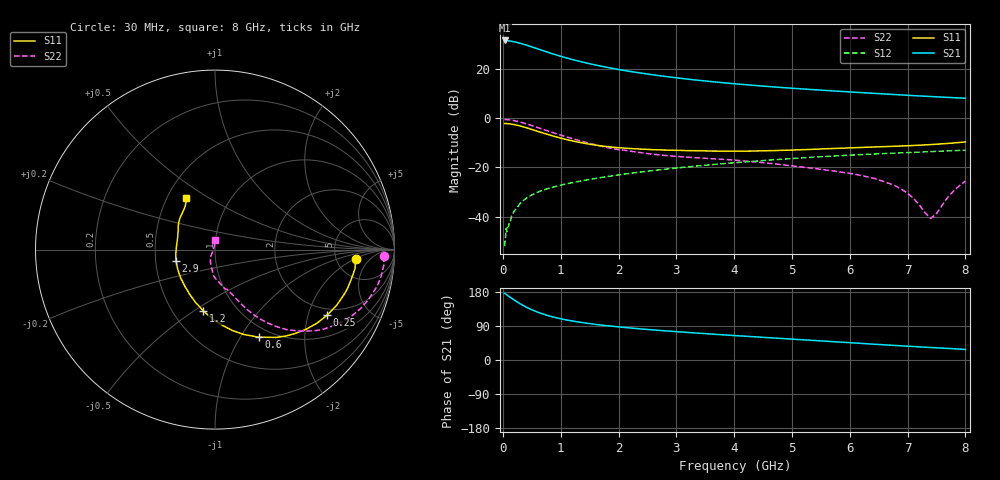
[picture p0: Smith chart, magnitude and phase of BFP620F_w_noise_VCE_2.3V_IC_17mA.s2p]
! Infineon Technologies  Discrete & RF Semiconductors
! BFP620F
! VCE =  2.3 V,  IC =  17 mA
! Common Emitter S-Parameters:  Dec 2014
# GHz  S  MA  R  50
!  f  S11  S21  S12  S22
! GHz  MAG  ANG  MAG  ANG  MAG  ANG  MAG  ANG
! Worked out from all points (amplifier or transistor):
!   95 points, 30 MHz to 8 GHz, reference 50 ohm
!   highest |S21| = 31.7 dB at 30 MHz (marker M1)
!   |S21| within 3 dB of that: start of sweep to 546.4 MHz
!   unconditionally stable (mu >= 1): 3.039 GHz to end of sweep
!   at 300 MHz: K = 0.33, MSG = 32.6 dB, |S12| = -34.6 dB
!   at 3.3 GHz: K = 1.01, MAG = 17.0 dB, |S12| = -19.5 dB
!   at 8 GHz: K = 1.07, MAG = 8.9 dB, |S12| = -13.0 dB
!   lowest NFmin = 0.76 dB at 450 MHz
!   S11 on the Smith chart (normalised r, x): 30 MHz: 7.83, -2.09; 250 MHz: 1.73, -2.66; 600 MHz: 0.87, -1.20; 1.2 GHz: 0.70, -0.55; 2.9 GHz: 0.64, -0.08; 8 GHz: 0.62, +0.40
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0.03  0.7873 -3.7  38.63 176.0  0.0025 44.6  0.9422 -2.3
0.08  0.7818 -10.1  38.23 170.5  0.0058 72.5  0.9404 -7.3
0.13  0.7692 -16.3  37.49 165.1  0.0082 68.4  0.9279 -12.0
0.25  0.7235 -30.4  35.01 152.9  0.0154 70.9  0.8724 -22.4
0.3  0.7007 -35.8  33.79 148.3  0.0187 69.4  0.8431 -26.4
0.4  0.6475 -46.1  31.19 139.9  0.0234 67.2  0.7782 -33.3
0.5  0.596 -55.2  28.53 132.6  0.0276 64.4  0.7146 -39.3
0.6  0.5451 -63.5  26.04 126.3  0.0314 63.2  0.6513 -44.2
0.7  0.5014 -70.9  23.79 120.9  0.0347 62.1  0.5949 -48.4
0.9  0.4265 -83.9  19.96 112.3  0.0408 60.4  0.4973 -54.7
1.1  0.3701 -95.3  17.01 105.6  0.0465 59.6  0.4199 -59.4
1.2  0.3487 -100.6  15.82 102.9  0.0491 59.6  0.3885 -61.2
1.4  0.3135 -110.4  13.81 98.2  0.0546 58.8  0.3334 -64.4
1.7  0.2749 -123.9  11.55 92.2  0.0626 58.7  0.2716 -68.6
2  0.2527 -136.1  9.917 87.4  0.0706 58.1  0.2308 -73.2
2.7  0.2289 -158.8  7.428 78.2  0.0894 55.9  0.181 -83.3
2.9  0.2253 -164.1  6.927 76.0  0.0947 55.3  0.1721 -85.6
4.1  0.2154 169.8  4.961 63.6  0.1275 50.2  0.1383 -94.3
5.4  0.2357 150.6  3.826 51.3  0.1628 43.1  0.0954 -102.8
6.7  0.2686 134.5  3.094 39.1  0.1946 34.9  0.0464 -120.6
7.4  0.2928 124.7  2.786 32.9  0.2105 30.8  0.0092 166.9
8  0.3313 119.2  2.572 27.9  0.225 26.9  0.0526 87.9
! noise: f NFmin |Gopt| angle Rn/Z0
0.45  0.76  0.1  6  0.21
0.9  0.82  0.1  17  0.18
1.5  0.87  0.09  18  0.13
1.8  0.89  0.09  19  0.13
1.9  0.9  0.05  35  0.15
2.4  0.94  0.04  56  0.13
3.5  1.02  0.04  106  0.14
5.5  1.16  0.12  -145  0.09
6  1.2  0.12  240  0.13
